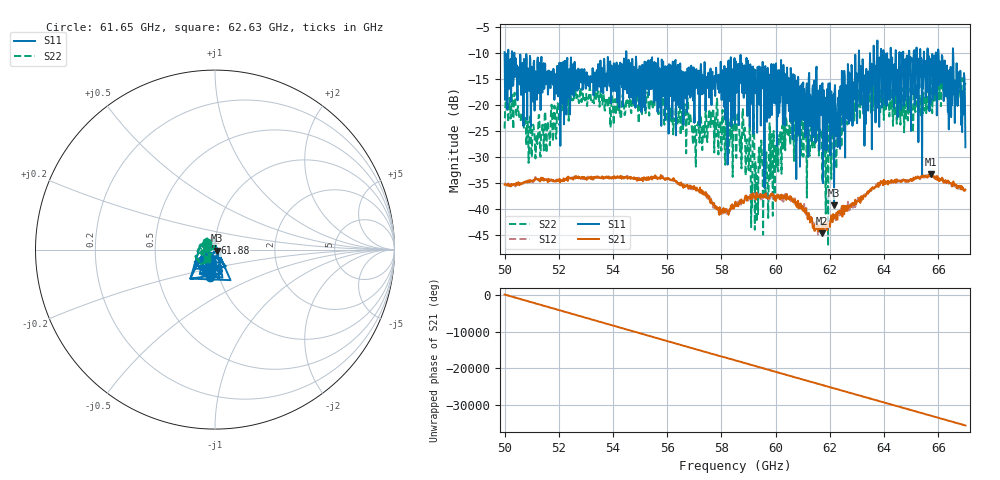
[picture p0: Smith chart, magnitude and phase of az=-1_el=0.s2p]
!Created with skrf (http://scikit-rf.org).
# GHz S RI R 50.0
!freq ReS11 ImS11 ReS21 ImS21 ReS12 ImS12 ReS22 ImS22
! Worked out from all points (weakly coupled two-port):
!   1001 points, 50 GHz to 67 GHz, reference 50 ohm
!   highest |S21| = -33.33 dB at 65.72 GHz (marker M1); lowest = -44.7 dB at 61.7 GHz (marker M2)
!   lowest |S11| = -39.3 dB at 62.16 GHz (marker M3), VSWR 1.02, Z = 50.9 - j0.674 ohm
!   |S11| at or under -10 dB: 50.36 GHz to 54.49 GHz (4.13 GHz wide, 7.88 % of centre); 54.49 GHz to 63.07 GHz (8.582 GHz wide, 14.6 % of centre); 63.08 GHz to 63.61 GHz (537.6 MHz wide, 0.849 % of centre) (the widest 3 of 24)
!   |S22| runs from -47.2 to -14.0 dB; largest |S21 - S12| = 0.0022
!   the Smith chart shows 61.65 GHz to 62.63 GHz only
!   S11 on the Smith chart (normalised r, x): 61.65 GHz: 0.90, -0.28; 61.88 GHz: 0.99, +0.07; 62.63 GHz: 0.95, -0.21
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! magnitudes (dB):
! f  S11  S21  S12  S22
! 50 GHz  -9.9  -35.4  -35.3  -24.6
! 50.42 GHz  -13.6  -35.5  -35.6  -21.7
! 51.07 GHz  -11.9  -34.7  -34.6  -24.1
! 52.84 GHz  -14.1  -34.1  -33.9  -19.5
! 55.68 GHz  -13.4  -34.1  -34.1  -21.8
! 56.99 GHz  -14.8  -35.6  -35.6  -21.9
! 57.62 GHz  -15.8  -38.1  -38.1  -21.7
! 58.5 GHz  -23.6  -39.3  -38.9  -24.2
! 58.86 GHz  -17.9  -38.0  -38.4  -24.4
! 59.32 GHz  -25.4  -37.5  -37.4  -33.6
! 59.44 GHz  -12.7  -37.9  -37.9  -31.2
! 60.64 GHz  -14.1  -38.1  -38.0  -22.2
! 61.34 GHz  -26.9  -41.8  -41.7  -25.8
! 61.65 GHz  -16.3  -43.9  -43.7  -25.0
! 61.7 GHz  -22.0  -44.7  -43.9  -25.5
! 61.88 GHz  -28.8  -42.7  -43.0  -23.3
! 62.16 GHz  -39.3  -41.9  -41.2  -28.1
! 62.63 GHz  -19.0  -40.4  -39.6  -23.4
! 64.18 GHz  -18.9  -35.0  -34.7  -18.6
! 65.72 GHz  -11.6  -33.3  -33.7  -15.4
! 66.75 GHz  -17.5  -35.7  -36.2  -18.4
! 67 GHz  -28.2  -36.3  -36.4  -15.8
